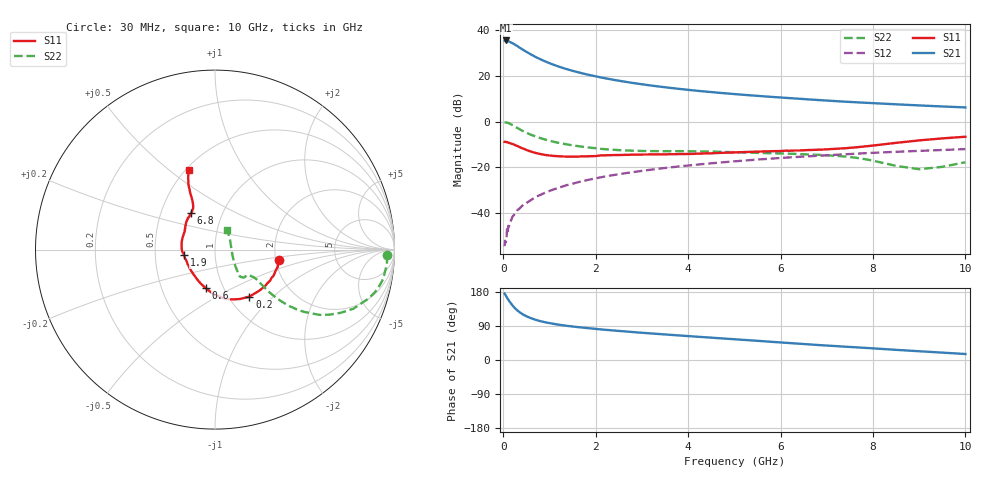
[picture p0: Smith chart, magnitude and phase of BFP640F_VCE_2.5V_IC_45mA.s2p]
! Infineon Technologies  Discrete & RF Semiconductors
! BFP640F
! VCE =  2.5 V,  IC =  45 mA
! Common Emitter S-Parameters:  Apr 2013
# GHz  S  MA  R  50
!  f  S11  S21  S12  S22
! GHz  MAG  ANG  MAG  ANG  MAG  ANG  MAG  ANG
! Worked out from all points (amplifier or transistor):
!   99 points, 30 MHz to 10 GHz, reference 50 ohm
!   highest |S21| = 35.5 dB at 50 MHz (marker M1)
!   |S21| within 3 dB of that: start of sweep to 343.3 MHz
!   unconditionally stable (mu >= 1): 1.429 GHz to end of sweep
!   at 350 MHz: K = 0.60, MSG = 35.2 dB, |S12| = -38.0 dB
!   at 3.5 GHz: K = 1.07, MAG = 16.1 dB, |S12| = -20.3 dB
!   at 10 GHz: K = 1.04, MAG = 7.8 dB, |S12| = -12.0 dB
!   S11 on the Smith chart (normalised r, x): 30 MHz: 2.08, -0.28; 200 MHz: 1.24, -0.73; 600 MHz: 0.83, -0.37; 1.9 GHz: 0.70, -0.04; 6.8 GHz: 0.71, +0.31; 10 GHz: 0.52, +0.59
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0.03  0.3601 -9.4  57.94 175.2  0.0019 78.1  0.9574 -1.8
0.05  0.3627 -15.3  59.26 171.4  0.0023 86.8  0.9615 -5.0
0.08  0.3574 -23.9  58.77 165.0  0.0042 88.5  0.9521 -9.4
0.12  0.3459 -35.2  56.4 157.4  0.0051 84.6  0.9229 -14.8
0.15  0.3365 -42.8  54.79 152.1  0.0062 78.8  0.8915 -18.2
0.2  0.3246 -53.7  51.62 144.1  0.0084 77.7  0.8387 -23.1
0.25  0.309 -62.9  48.36 137.3  0.0096 79.1  0.7837 -26.7
0.3  0.294 -71.0  44.98 131.4  0.0114 78.1  0.7321 -29.7
0.4  0.2641 -84.5  38.71 122.3  0.0141 75.2  0.6402 -33.6
0.5  0.2404 -94.7  33.49 115.5  0.0167 74.0  0.5723 -36.0
0.6  0.2212 -103.5  29.35 110.3  0.0193 75.1  0.5167 -37.3
0.8  0.1961 -119.1  23.09 102.6  0.025 74.5  0.4375 -38.2
1  0.1818 -132.1  18.91 97.4  0.0305 74.4  0.3825 -38.1
1.3  0.1728 -148.3  14.77 91.5  0.0387 73.6  0.3276 -36.9
1.7  0.1737 -164.6  11.4 85.7  0.0497 72.4  0.2836 -35.5
1.9  0.1757 -170.6  10.24 83.3  0.0549 71.5  0.2683 -35.3
3.4  0.1929 158.9  5.791 68.3  0.0945 63.9  0.2258 -40.6
5.1  0.2142 139.8  3.922 53.9  0.138 54.6  0.2133 -46.2
6.7  0.2407 124.5  3.015 40.5  0.1768 45.1  0.1898 -46.8
6.8  0.243 123.4  2.967 39.7  0.1791 44.5  0.1883 -46.6
8.5  0.3434 113.6  2.388 26.8  0.2189 34.4  0.1077 -22.7
10  0.4668 108.2  2.041 15.8  0.2507 25.6  0.1294 58.6
